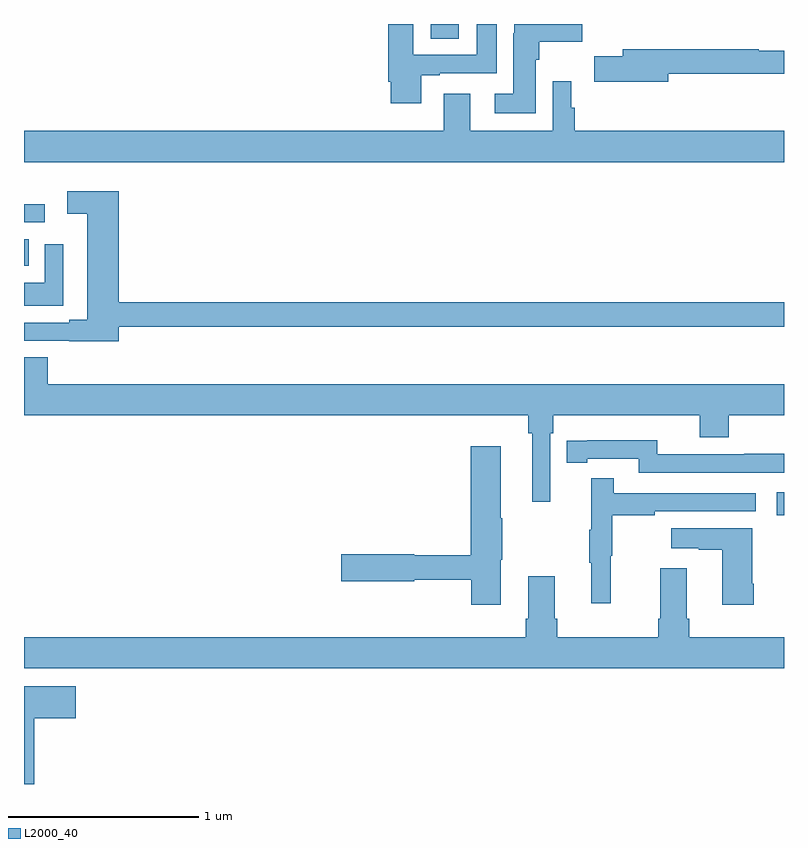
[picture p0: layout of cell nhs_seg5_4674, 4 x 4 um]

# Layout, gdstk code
import gdstk
lib = gdstk.Library(unit=1e-6, precision=1e-09)
def R(c, l, rs):  # rectangles x0, y0, x1, y1
    for r in rs: c.add(gdstk.rectangle(r[:2], r[2:], *l))
def P(c, l, *ps):  # polygons
    for p in ps: c.add(gdstk.Polygon(p, *l))
L2000_40 = (2000, 40)

nhs_seg5_4674 = lib.new_cell('nhs_seg5_4674')
R(nhs_seg5_4674, L2000_40, [(388.962,876.213,389,876.334), (385,877.526,385.025,877.666), (385,877.755,385.108,877.851), (387.14,878.722,387.289,878.799)])
P(nhs_seg5_4674, L2000_40, [(387.091,878.529),(387.187,878.529),(387.187,878.541),(387.487,878.541),(387.487,878.799),(387.383,878.799),(387.383,878.637),(387.049,878.637),(387.049,878.799),(386.918,878.799),(386.918,878.494),(386.93,878.494),(386.93,878.382),(387.091,878.382)],
  [(387.694,878.61),(387.712,878.61),(387.712,878.705),(387.937,878.705),(387.937,878.799),(387.579,878.799),(387.579,878.75),(387.575,878.75),(387.575,878.431),(387.477,878.431),(387.477,878.33),(387.694,878.33)],
  [(388.39,878.538),(389,878.538),(389,878.659),(388.867,878.659),(388.867,878.666),(388.151,878.666),(388.151,878.63),(388.002,878.63),(388.002,878.495),(388.39,878.495)],
  [(389,878.236),(387.899,878.236),(387.899,878.358),(387.879,878.358),(387.879,878.497),(387.783,878.497),(387.783,878.236),(387.349,878.236),(387.349,878.431),(387.209,878.431),(387.209,878.236),(385,878.236),(385,878.072),(389,878.072)],
  [(385.499,877.206),(389,877.206),(389,877.334),(385.499,877.334),(385.499,877.918),(385.227,877.918),(385.227,877.801),(385.334,877.801),(385.334,877.243),(385.238,877.243),(385.238,877.227),(385,877.227),(385,877.131),(385.238,877.131),(385.238,877.129),(385.499,877.129)],
  [(385.206,877.639),(385.11,877.639),(385.11,877.438),(385,877.438),(385,877.317),(385.206,877.317)],
  [(387.771,876.644),(387.785,876.644),(387.785,876.74),(388.556,876.74),(388.556,876.623),(388.709,876.623),(388.709,876.74),(389,876.74),(389,876.904),(385.124,876.904),(385.124,877.046),(385,877.046),(385,876.74),(387.655,876.74),(387.655,876.644),(387.674,876.644),(387.674,876.285),(387.771,876.285)],
  [(389,876.536),(388.792,876.536),(388.792,876.534),(388.332,876.534),(388.332,876.607),(387.964,876.607),(387.964,876.606),(387.856,876.606),(387.856,876.49),(387.964,876.49),(387.964,876.51),(388.236,876.51),(388.236,876.438),(389,876.438)],
  [(387.508,875.979),(387.516,875.979),(387.516,876.197),(387.508,876.197),(387.508,876.577),(387.35,876.577),(387.35,876.002),(387.054,876.002),(387.054,876.008),(386.67,876.008),(386.67,875.866),(387.054,875.866),(387.054,875.874),(387.355,875.874),(387.355,875.742),(387.508,875.742)],
  [(388.088,876),(388.096,876),(388.096,876.214),(388.319,876.214),(388.319,876.234),(388.852,876.234),(388.852,876.33),(388.103,876.33),(388.103,876.409),(387.986,876.409),(387.986,876.137),(387.975,876.137),(387.975,875.963),(387.986,875.963),(387.986,875.751),(388.088,875.751)],
  [(388.842,875.854),(388.834,875.854),(388.834,876.145),(388.407,876.145),(388.407,876.041),(388.55,876.041),(388.55,876.031),(388.676,876.031),(388.676,875.742),(388.842,875.742)],
  [(389,875.572),(388.502,875.572),(388.502,875.668),(388.489,875.668),(388.489,875.935),(388.349,875.935),(388.349,875.668),(388.337,875.668),(388.337,875.572),(387.806,875.572),(387.806,875.668),(387.793,875.668),(387.793,875.893),(387.653,875.893),(387.653,875.668),(387.641,875.668),(387.641,875.572),(385,875.572),(385,875.408),(389,875.408)],
  [(385.055,875.144),(385.273,875.144),(385.273,875.314),(385,875.314),(385,874.799),(385.055,874.799)])

lib.write_gds('nhs_seg5_4674.gds')
